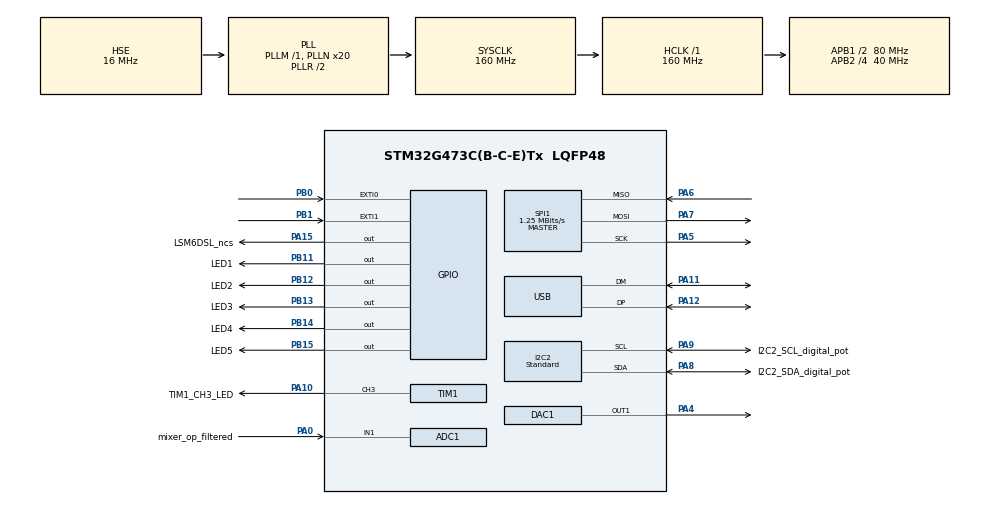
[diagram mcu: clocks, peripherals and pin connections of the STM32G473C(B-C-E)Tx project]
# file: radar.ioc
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ADC1.AWD1FilteringConfig=ADC_AWD_FILTERING_2SAMPLES
ADC1.AWD1HighThreshold=2431
ADC1.AWD1ITMode=ENABLE
ADC1.AWD1LowThreshold=743
ADC1.Channel-0\#ChannelRegularConversion=ADC_CHANNEL_1
ADC1.ClockPrescaler=ADC_CLOCK_SYNC_PCLK_DIV4
ADC1.ContinuousConvMode=DISABLE
ADC1.DMAContinuousRequests=ENABLE
ADC1.EOCSelection=ADC_EOC_SINGLE_CONV
ADC1.EnableAnalogWatchDog1=true
ADC1.ExternalTrigConv=ADC_EXTERNALTRIG_T1_TRGO
ADC1.ExternalTrigConvEdge=ADC_EXTERNALTRIGCONVEDGE_RISING
ADC1.Mode=ADC_MODE_INDEPENDENT
ADC1.NbrOfConversion=1
ADC1.NbrOfConversionFlag=1
ADC1.OffsetNumber-0\#ChannelRegularConversion=ADC_OFFSET_NONE
ADC1.Overrun=ADC_OVR_DATA_PRESERVED
ADC1.OversamplingMode=ENABLE
ADC1.Rank-0\#ChannelRegularConversion=1
ADC1.Ratio=ADC_OVERSAMPLING_RATIO_16
ADC1.SamplingTime-0\#ChannelRegularConversion=ADC_SAMPLETIME_2CYCLES_5
ADC1.WatchdogChannel=ADC_CHANNEL_1
ADC1.master=1
DAC1.DAC_DMADoubleDataMode-DAC_OUT1=DISABLE
DAC1.DAC_Trigger_OUT1-DAC_OUT1=DAC_TRIGGER_T2_TRGO
Dma.ADC1.1.Direction=DMA_PERIPH_TO_MEMORY
Dma.ADC1.1.EventEnable=DISABLE
Dma.ADC1.1.Instance=DMA2_Channel1
Dma.ADC1.1.MemDataAlignment=DMA_MDATAALIGN_HALFWORD
Dma.ADC1.1.MemInc=DMA_MINC_ENABLE
Dma.ADC1.1.Mode=DMA_CIRCULAR
Dma.ADC1.1.PeriphDataAlignment=DMA_PDATAALIGN_HALFWORD
Dma.ADC1.1.PeriphInc=DMA_PINC_DISABLE
Dma.ADC1.1.Polarity=HAL_DMAMUX_REQ_GEN_RISING
Dma.ADC1.1.Priority=DMA_PRIORITY_VERY_HIGH
Dma.ADC1.1.RequestNumber=1
Dma.ADC1.1.SignalID=NONE
Dma.ADC1.1.SyncEnable=DISABLE
Dma.ADC1.1.SyncPolarity=HAL_DMAMUX_SYNC_NO_EVENT
Dma.ADC1.1.SyncRequestNumber=1
Dma.ADC1.1.SyncSignalID=NONE
Dma.DAC1_CH1.0.Direction=DMA_MEMORY_TO_PERIPH
Dma.DAC1_CH1.0.EventEnable=DISABLE
Dma.DAC1_CH1.0.Instance=DMA1_Channel1
Dma.DAC1_CH1.0.MemDataAlignment=DMA_MDATAALIGN_WORD
Dma.DAC1_CH1.0.MemInc=DMA_MINC_ENABLE
Dma.DAC1_CH1.0.Mode=DMA_CIRCULAR
Dma.DAC1_CH1.0.PeriphDataAlignment=DMA_PDATAALIGN_WORD
Dma.DAC1_CH1.0.PeriphInc=DMA_PINC_DISABLE
Dma.DAC1_CH1.0.Polarity=HAL_DMAMUX_REQ_GEN_RISING
Dma.DAC1_CH1.0.Priority=DMA_PRIORITY_VERY_HIGH
Dma.DAC1_CH1.0.RequestNumber=1
Dma.DAC1_CH1.0.SignalID=NONE
Dma.DAC1_CH1.0.SyncEnable=DISABLE
Dma.DAC1_CH1.0.SyncPolarity=HAL_DMAMUX_SYNC_NO_EVENT
Dma.DAC1_CH1.0.SyncRequestNumber=1
Dma.DAC1_CH1.0.SyncSignalID=NONE
Dma.Request0=DAC1_CH1
Dma.Request1=ADC1
I2C2.I2C_Speed_Mode=I2C_Standard
I2C2.Speed=100
I2C2.Timing=0x10909CEC
Mcu.Family=STM32G4
Mcu.Name=STM32G473C(B-C-E)Tx
Mcu.Package=LQFP48
NVIC.ADC1_2_IRQn=true\:0\:0\:false\:false\:true\:true\:true\:true
NVIC.DMA1_Channel1_IRQn=true\:0\:0\:false\:false\:true\:false\:true\:true
NVIC.DMA2_Channel1_IRQn=true\:0\:0\:false\:false\:true\:false\:true\:true
NVIC.EXTI0_IRQn=true\:0\:0\:false\:false\:true\:true\:true\:true
NVIC.EXTI1_IRQn=true\:0\:0\:false\:false\:true\:true\:true\:true
NVIC.PriorityGroup=NVIC_PRIORITYGROUP_4
NVIC.SPI1_IRQn=true\:0\:0\:false\:false\:true\:true\:true\:true
NVIC.USB_LP_IRQn=true\:0\:0\:false\:false\:true\:false\:true\:true
PA0.GPIO_Label=mixer_op_filtered
PA0.Mode=IN1-Single-Ended
PA0.Signal=ADC1_IN1
PA10.GPIO_Label=TIM1_CH3_LED
PA10.Signal=S_TIM1_CH3
PA11.Mode=Device
PA11.Signal=USB_DM
PA12.Mode=Device
PA12.Signal=USB_DP
PA13.Mode=Trace_Asynchronous_SW
PA13.Signal=SYS_JTMS-SWDIO
PA14.Mode=Trace_Asynchronous_SW
PA14.Signal=SYS_JTCK-SWCLK
PA15.GPIO_Label=LSM6DSL_ncs
PA15.Signal=GPIO_Output
PA4.Signal=COMP_DAC11_group
PA5.Mode=Full_Duplex_Master
PA5.Signal=SPI1_SCK
PA6.Mode=Full_Duplex_Master
PA6.Signal=SPI1_MISO
PA7.Mode=Full_Duplex_Master
PA7.Signal=SPI1_MOSI
PA8.GPIO_Label=I2C2_SDA_digital_pot
PA8.Mode=I2C
PA8.Signal=I2C2_SDA
PA9.GPIO_Label=I2C2_SCL_digital_pot
PA9.Mode=I2C
PA9.Signal=I2C2_SCL
PB0.Signal=GPXTI0
PB1.Signal=GPXTI1
PB11.GPIO_Label=LED1
PB11.PinState=GPIO_PIN_RESET
PB11.Signal=GPIO_Output
PB12.GPIO_Label=LED2
PB12.Signal=GPIO_Output
PB13.GPIO_Label=LED3
PB13.Signal=GPIO_Output
PB14.GPIO_Label=LED4
PB14.Signal=GPIO_Output
PB15.GPIO_Label=LED5
PB15.Signal=GPIO_Output
PB3.Mode=Trace_Asynchronous_SW
PB3.Signal=SYS_JTDO-SWO
PF0-OSC_IN.Mode=HSE-External-Oscillator
PF0-OSC_IN.Signal=RCC_OSC_IN
PF1-OSC_OUT.Mode=HSE-External-Oscillator
PF1-OSC_OUT.Signal=RCC_OSC_OUT
ProjectManager.HeapSize=0x200
ProjectManager.StackSize=0x400
ProjectManager.TargetToolchain=STM32CubeIDE
RCC.ADC12CLockSelection=RCC_ADC12CLKSOURCE_PLL
RCC.ADC12Freq_Value=26666666.666666668
RCC.ADC345Freq_Value=160000000
RCC.AHBFreq_Value=160000000
RCC.APB1CLKDivider=RCC_HCLK_DIV2
RCC.APB1Freq_Value=80000000
RCC.APB1TimFreq_Value=160000000
RCC.APB2CLKDivider=RCC_HCLK_DIV4
RCC.APB2Freq_Value=40000000
RCC.APB2TimFreq_Value=80000000
RCC.CK48CLockSelection=RCC_USBCLKSOURCE_HSI48
RCC.CortexFreq_Value=160000000
RCC.EXTERNAL_CLOCK_VALUE=12288000
RCC.HCLKFreq_Value=160000000
RCC.HSE_VALUE=16000000
RCC.HSI48_VALUE=48000000
RCC.HSI_VALUE=16000000
RCC.LSE_VALUE=32768
RCC.PLLN=20
RCC.PLLP=RCC_PLLP_DIV12
RCC.PLLQ=RCC_PLLQ_DIV6
RCC.PLLSourceVirtual=RCC_PLLSOURCE_HSE
RCC.SYSCLKFreq_VALUE=160000000
RCC.SYSCLKSource=RCC_SYSCLKSOURCE_PLLCLK
RCC.USBFreq_Value=48000000
RCC.VCOOutputFreq_Value=320000000
SH.COMP_DAC11_group.0=DAC1_OUT1,DAC_OUT1
SH.S_TIM1_CH3.0=TIM1_CH3,Output Compare3 CH3
SPI1.BaudRatePrescaler=SPI_BAUDRATEPRESCALER_32
SPI1.CalculateBaudRate=1.25 MBits/s
SPI1.DataSize=SPI_DATASIZE_8BIT
SPI1.Direction=SPI_DIRECTION_2LINES
SPI1.Mode=SPI_MODE_MASTER
SPI1.NSSPMode=SPI_NSS_PULSE_DISABLE
SPI1.VirtualType=VM_MASTER
TIM1.Channel-Output\ Compare3\ CH3=TIM_CHANNEL_3
TIM1.OCMode_3=TIM_OCMODE_TOGGLE
TIM1.PeriodNoDither=2000-1
TIM1.Prescaler=1-1
TIM1.TIM_MasterOutputTrigger=TIM_TRGO_UPDATE
TIM2.PeriodNoDither=3200-1
TIM2.Prescaler=1-1
TIM2.TIM_MasterOutputTrigger=TIM_TRGO_UPDATE
USB_DEVICE.CLASS_NAME_FS=CDC
USB_DEVICE.USBD_DEBUG_LEVEL=3
USB_DEVICE.VirtualMode=Cdc
USB_DEVICE.VirtualModeFS=Cdc_FS
VP_TIM1_VS_ClockSourceINT.Mode=Internal
VP_TIM2_VS_ClockSourceINT.Mode=Internal
VP_USB_DEVICE_VS_USB_DEVICE_CDC_FS.Mode=CDC_FS
board=custom

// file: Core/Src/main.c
/* USER CODE BEGIN Header */
/**
  ******************************************************************************
  * @file           : main.c
  * @brief          : Main program body
  ******************************************************************************
  * @attention
  *
  * Copyright (c) 2022 STMicroelectronics.
  * All rights reserved.
  *
  * This software is licensed under terms that can be found in the LICENSE file
  * in the root directory of this software component.
  * If no LICENSE file comes with this software, it is provided AS-IS.
  *
  ******************************************************************************
  */
/* USER CODE END Header */
#include "main.h"
#include "usb_device.h"

/* USER CODE BEGIN Includes */
#include "usbd_cdc_if.h"

/* USER CODE END Includes */

/* USER CODE BEGIN PTD */
typedef enum run_mode {none = 'x', range = 'r', speed = 's', idle = 'i', test_low = 'l', test_high = 'h'} run_mode;
typedef enum digital_potentiometer_mode {automatic, manual} digital_potentiometer_mode;

typedef struct Control {
	uint16_t run_time_sec;
	run_mode mode_instructed;
	run_mode mode_running;
	uint8_t transmit_data_flag;
	uint32_t time_out;
	uint8_t digital_pot_mode;
	uint8_t digital_pot_instructed;
	uint8_t digital_pot_current_setting;
} control;

typedef struct circ_buf {
    uint16_t *buffer;
    uint16_t read_index;
    uint16_t write_index;
    uint16_t max_size;
    uint16_t block_len;
    uint16_t size;
} circ_buf;
/* USER CODE END PTD */

/* USER CODE BEGIN PM */
#define DMA_BUF_LEN 128 // buffer length for adc1 dma, mixer o/p
#define TX_BUF_NUM_DMA 10 // number of full DMA buffers that can fit into TX_BUF
#define TX_BUF_SIZE DMA_BUF_LEN * TX_BUF_NUM_DMA // buffer length for usb transmitting

#define VTUNE_SAMPLE_LEN 2000 // number of samples in VTUNE waveform

/* USER CODE END PM */

ADC_HandleTypeDef hadc1;
DMA_HandleTypeDef hdma_adc1;

DAC_HandleTypeDef hdac1;
DMA_HandleTypeDef hdma_dac1_ch1;

I2C_HandleTypeDef hi2c2;

SPI_HandleTypeDef hspi1;

TIM_HandleTypeDef htim1;
TIM_HandleTypeDef htim2;

/* USER CODE BEGIN PV */
static const uint8_t DIGITAL_POT_ADDR = 0x2f << 1; // Use 7-bit address '101111' for digital potentiometer
static uint16_t adc1_dma_buf_mixer_out[DMA_BUF_LEN];

static circ_buf *tx_buf;
extern uint8_t UserRxBufferFS[APP_RX_DATA_SIZE]; // usb receive buffer
extern uint8_t input_received_flag; // flag for usb input received
// Flag to indicate when the SPI transfer is complete
volatile uint8_t spi_complete_flag = 0;
volatile uint32_t analog_watchdog_adc = 0;
uint8_t digital_pot_default = 0x3f;
uint8_t VTune_first_cycle_complete;
uint32_t IDLE = 3724; // 3Volt with 3.3V VDDA = 2.48GHz
uint32_t CTune = 3103; /* 2.5Volt with 3.3V VDDA */
uint32_t VTune_MIN = 2482;  // minimum value in VTune waveform, used for testing purposes
uint32_t VTune_MAX = 3722;  // maximum value in VTune waveform, used for testing purposes
uint32_t VTune[VTUNE_SAMPLE_LEN] = {
		2482, 2483, 2484, 2486, 2487, 2488, 2489, 2491, 2492, 2493, 2494, 2495, 2497, 2498, 2499,
		2500, 2502, 2503, 2504, 2505, 2507, 2508, 2509, 2510, 2512, 2513, 2514, 2515, 2517, 2518,
		2519, 2520, 2522, 2523, 2524, 2525, 2527, 2528, 2529, 2530, 2531, 2533, 2534, 2535, 2536,
		2538, 2539, 2540, 2541, 2543, 2544, 2545, 2546, 2548, 2549, 2550, 2551, 2553, 2554, 2555,
		2556, 2558, 2559, 2560, 2561, 2563, 2564, 2565, 2566, 2567, 2569, 2570, 2571, 2572, 2574,
		2575, 2576, 2577, 2579, 2580, 2581, 2582, 2584, 2585, 2586, 2587, 2589, 2590, 2591, 2592,
		2594, 2595, 2596, 2597, 2599, 2600, 2601, 2602, 2603, 2605, 2606, 2607, 2608, 2610, 2611,
		2612, 2613, 2615, 2616, 2617, 2618, 2620, 2621, 2622, 2623, 2625, 2626, 2627, 2628, 2630,
		2631, 2632, 2633, 2635, 2636, 2637, 2638, 2639, 2641, 2642, 2643, 2644, 2646, 2647, 2648,
		2649, 2651, 2652, 2653, 2654, 2656, 2657, 2658, 2659, 2661, 2662, 2663, 2664, 2666, 2667,
		2668, 2669, 2671, 2672, 2673, 2674, 2675, 2677, 2678, 2679, 2680, 2682, 2683, 2684, 2685,
		2687, 2688, 2689, 2690, 2692, 2693, 2694, 2695, 2697, 2698, 2699, 2700, 2702, 2703, 2704,
		2705, 2707, 2708, 2709, 2710, 2712, 2713, 2714, 2715, 2716, 2718, 2719, 2720, 2721, 2723,
		2724, 2725, 2726, 2728, 2729, 2730, 2731, 2733, 2734, 2735, 2736, 2738, 2739, 2740, 2741,
		2743, 2744, 2745, 2746, 2748, 2749, 2750, 2751, 2752, 2754, 2755, 2756, 2757, 2759, 2760,
		2761, 2762, 2764, 2765, 2766, 2767, 2769, 2770, 2771, 2772, 2774, 2775, 2776, 2777, 2779,
		2780, 2781, 2782, 2784, 2785, 2786, 2787, 2788, 2790, 2791, 2792, 2793, 2795, 2796, 2797,
		2798, 2800, 2801, 2802, 2803, 2805, 2806, 2807, 2808, 2810, 2811, 2812, 2813, 2815, 2816,
		2817, 2818, 2820, 2821, 2822, 2823, 2824, 2826, 2827, 2828, 2829, 2831, 2832, 2833, 2834,
		2836, 2837, 2838, 2839, 2841, 2842, 2843, 2844, 2846, 2847, 2848, 2849, 2851, 2852, 2853,
		2854, 2856, 2857, 2858, 2859, 2860, 2862, 2863, 2864, 2865, 2867, 2868, 2869, 2870, 2872,
		2873, 2874, 2875, 2877, 2878, 2879, 2880, 2882, 2883, 2884, 2885, 2887, 2888, 2889, 2890,
		2892, 2893, 2894, 2895, 2896, 2898, 2899, 2900, 2901, 2903, 2904, 2905, 2906, 2908, 2909,
		2910, 2911, 2913, 2914, 2915, 2916, 2918, 2919, 2920, 2921, 2923, 2924, 2925, 2926, 2928,
		2929, 2930, 2931, 2932, 2934, 2935, 2936, 2937, 2939, 2940, 2941, 2942, 2944, 2945, 2946,
		2947, 2949, 2950, 2951, 2952, 2954, 2955, 2956, 2957, 2959, 2960, 2961, 2962, 2964, 2965,
		2966, 2967, 2968, 2970, 2971, 2972, 2973, 2975, 2976, 2977, 2978, 2980, 2981, 2982, 2983,
		2985, 2986, 2987, 2988, 2990, 2991, 2992, 2993, 2995, 2996, 2997, 2998, 3000, 3001, 3002,
		3003, 3005, 3006, 3007, 3008, 3009, 3011, 3012, 3013, 3014, 3016, 3017, 3018, 3019, 3021,
		3022, 3023, 3024, 3026, 3027, 3028, 3029, 3031, 3032, 3033, 3034, 3036, 3037, 3038, 3039,
		3041, 3042, 3043, 3044, 3045, 3047, 3048, 3049, 3050, 3052, 3053, 3054, 3055, 3057, 3058,
		3059, 3060, 3062, 3063, 3064, 3065, 3067, 3068, 3069, 3070, 3072, 3073, 3074, 3075, 3077,
		3078, 3079, 3080, 3081, 3083, 3084, 3085, 3086, 3088, 3089, 3090, 3091, 3093, 3094, 3095,
		3096, 3098, 3099, 3100, 3101, 3103, 3104, 3105, 3106, 3108, 3109, 3110, 3111, 3113, 3114,
		3115, 3116, 3117, 3119, 3120, 3121, 3122, 3124, 3125, 3126, 3127, 3129, 3130, 3131, 3132,
		3134, 3135, 3136, 3137, 3139, 3140, 3141, 3142, 3144, 3145, 3146, 3147, 3149, 3150, 3151,
		3152, 3153, 3155, 3156, 3157, 3158, 3160, 3161, 3162, 3163, 3165, 3166, 3167, 3168, 3170,
		3171, 3172, 3173, 3175, 3176, 3177, 3178, 3180, 3181, 3182, 3183, 3185, 3186, 3187, 3188,
		3189, 3191, 3192, 3193, 3194, 3196, 3197, 3198, 3199, 3201, 3202, 3203, 3204, 3206, 3207,
		3208, 3209, 3211, 3212, 3213, 3214, 3216, 3217, 3218, 3219, 3221, 3222, 3223, 3224, 3225,
		3227, 3228, 3229, 3230, 3232, 3233, 3234, 3235, 3237, 3238, 3239, 3240, 3242, 3243, 3244,
		3245, 3247, 3248, 3249, 3250, 3252, 3253, 3254, 3255, 3257, 3258, 3259, 3260, 3261, 3263,
		3264, 3265, 3266, 3268, 3269, 3270, 3271, 3273, 3274, 3275, 3276, 3278, 3279, 3280, 3281,
		3283, 3284, 3285, 3286, 3288, 3289, 3290, 3291, 3293, 3294, 3295, 3296, 3298, 3299, 3300,
		3301, 3302, 3304, 3305, 3306, 3307, 3309, 3310, 3311, 3312, 3314, 3315, 3316, 3317, 3319,
		3320, 3321, 3322, 3324, 3325, 3326, 3327, 3329, 3330, 3331, 3332, 3334, 3335, 3336, 3337,
		3338, 3340, 3341, 3342, 3343, 3345, 3346, 3347, 3348, 3350, 3351, 3352, 3353, 3355, 3356,
		3357, 3358, 3360, 3361, 3362, 3363, 3365, 3366, 3367, 3368, 3370, 3371, 3372, 3373, 3374,
		3376, 3377, 3378, 3379, 3381, 3382, 3383, 3384, 3386, 3387, 3388, 3389, 3391, 3392, 3393,
		3394, 3396, 3397, 3398, 3399, 3401, 3402, 3403, 3404, 3406, 3407, 3408, 3409, 3410, 3412,
		3413, 3414, 3415, 3417, 3418, 3419, 3420, 3422, 3423, 3424, 3425, 3427, 3428, 3429, 3430,
		3432, 3433, 3434, 3435, 3437, 3438, 3439, 3440, 3442, 3443, 3444, 3445, 3446, 3448, 3449,
		3450, 3451, 3453, 3454, 3455, 3456, 3458, 3459, 3460, 3461, 3463, 3464, 3465, 3466, 3468,
		3469, 3470, 3471, 3473, 3474, 3475, 3476, 3478, 3479, 3480, 3481, 3482, 3484, 3485, 3486,
		3487, 3489, 3490, 3491, 3492, 3494, 3495, 3496, 3497, 3499, 3500, 3501, 3502, 3504, 3505,
		3506, 3507, 3509, 3510, 3511, 3512, 3514, 3515, 3516, 3517, 3518, 3520, 3521, 3522, 3523,
		3525, 3526, 3527, 3528, 3530, 3531, 3532, 3533, 3535, 3536, 3537, 3538, 3540, 3541, 3542,
		3543, 3545, 3546, 3547, 3548, 3550, 3551, 3552, 3553, 3554, 3556, 3557, 3558, 3559, 3561,
		3562, 3563, 3564, 3566, 3567, 3568, 3569, 3571, 3572, 3573, 3574, 3576, 3577, 3578, 3579,
		3581, 3582, 3583, 3584, 3586, 3587, 3588, 3589, 3591, 3592, 3593, 3594, 3595, 3597, 3598,
		3599, 3600, 3602, 3603, 3604, 3605, 3607, 3608, 3609, 3610, 3612, 3613, 3614, 3615, 3617,
		3618, 3619, 3620, 3622, 3623, 3624, 3625, 3627, 3628, 3629, 3630, 3631, 3633, 3634, 3635,
		3636, 3638, 3639, 3640, 3641, 3643, 3644, 3645, 3646, 3648, 3649, 3650, 3651, 3653, 3654,
		3655, 3656, 3658, 3659, 3660, 3661, 3663, 3664, 3665, 3666, 3667, 3669, 3670, 3671, 3672,
		3674, 3675, 3676, 3677, 3679, 3680, 3681, 3682, 3684, 3685, 3686, 3687, 3689, 3690, 3691,
		3692, 3694, 3695, 3696, 3697, 3699, 3700, 3701, 3702, 3703, 3705, 3706, 3707, 3708, 3710,
		3711, 3712, 3713, 3715, 3716, 3717, 3718, 3720, 3721, 3722, 3722, 3721, 3720, 3718, 3717,
		3716, 3715, 3713, 3712, 3711, 3710, 3708, 3707, 3706, 3705, 3703, 3702, 3701, 3700, 3699,
		3697, 3696, 3695, 3694, 3692, 3691, 3690, 3689, 3687, 3686, 3685, 3684, 3682, 3681, 3680,
		3679, 3677, 3676, 3675, 3674, 3672, 3671, 3670, 3669, 3667, 3666, 3665, 3664, 3663, 3661,
		3660, 3659, 3658, 3656, 3655, 3654, 3653, 3651, 3650, 3649, 3648, 3646, 3645, 3644, 3643,
		3641, 3640, 3639, 3638, 3636, 3635, 3634, 3633, 3631, 3630, 3629, 3628, 3627, 3625, 3624,
		3623, 3622, 3620, 3619, 3618, 3617, 3615, 3614, 3613, 3612, 3610, 3609, 3608, 3607, 3605,
		3604, 3603, 3602, 3600, 3599, 3598, 3597, 3595, 3594, 3593, 3592, 3591, 3589, 3588, 3587,
		3586, 3584, 3583, 3582, 3581, 3579, 3578, 3577, 3576, 3574, 3573, 3572, 3571, 3569, 3568,
		3567, 3566, 3564, 3563, 3562, 3561, 3559, 3558, 3557, 3556, 3554, 3553, 3552, 3551, 3550,
		3548, 3547, 3546, 3545, 3543, 3542, 3541, 3540, 3538, 3537, 3536, 3535, 3533, 3532, 3531,
		3530, 3528, 3527, 3526, 3525, 3523, 3522, 3521, 3520, 3518, 3517, 3516, 3515, 3514, 3512,
		3511, 3510, 3509, 3507, 3506, 3505, 3504, 3502, 3501, 3500, 3499, 3497, 3496, 3495, 3494,
		3492, 3491, 3490, 3489, 3487, 3486, 3485, 3484, 3482, 3481, 3480, 3479, 3478, 3476, 3475,
		3474, 3473, 3471, 3470, 3469, 3468, 3466, 3465, 3464, 3463, 3461, 3460, 3459, 3458, 3456,
		3455, 3454, 3453, 3451, 3450, 3449, 3448, 3446, 3445, 3444, 3443, 3442, 3440, 3439, 3438,
		3437, 3435, 3434, 3433, 3432, 3430, 3429, 3428, 3427, 3425, 3424, 3423, 3422, 3420, 3419,
		3418, 3417, 3415, 3414, 3413, 3412, 3410, 3409, 3408, 3407, 3406, 3404, 3403, 3402, 3401,
		3399, 3398, 3397, 3396, 3394, 3393, 3392, 3391, 3389, 3388, 3387, 3386, 3384, 3383, 3382,
		3381, 3379, 3378, 3377, 3376, 3374, 3373, 3372, 3371, 3370, 3368, 3367, 3366, 3365, 3363,
		3362, 3361, 3360, 3358, 3357, 3356, 3355, 3353, 3352, 3351, 3350, 3348, 3347, 3346, 3345,
		3343, 3342, 3341, 3340, 3338, 3337, 3336, 3335, 3334, 3332, 3331, 3330, 3329, 3327, 3326,
		3325, 3324, 3322, 3321, 3320, 3319, 3317, 3316, 3315, 3314, 3312, 3311, 3310, 3309, 3307,
		3306, 3305, 3304, 3302, 3301, 3300, 3299, 3298, 3296, 3295, 3294, 3293, 3291, 3290, 3289,
		3288, 3286, 3285, 3284, 3283, 3281, 3280, 3279, 3278, 3276, 3275, 3274, 3273, 3271, 3270,
		3269, 3268, 3266, 3265, 3264, 3263, 3261, 3260, 3259, 3258, 3257, 3255, 3254, 3253, 3252,
		3250, 3249, 3248, 3247, 3245, 3244, 3243, 3242, 3240, 3239, 3238, 3237, 3235, 3234, 3233,
		3232, 3230, 3229, 3228, 3227, 3225, 3224, 3223, 3222, 3221, 3219, 3218, 3217, 3216, 3214,
		3213, 3212, 3211, 3209, 3208, 3207, 3206, 3204, 3203, 3202, 3201, 3199, 3198, 3197, 3196,
		3194, 3193, 3192, 3191, 3189, 3188, 3187, 3186, 3185, 3183, 3182, 3181, 3180, 3178, 3177,
		3176, 3175, 3173, 3172, 3171, 3170, 3168, 3167, 3166, 3165, 3163, 3162, 3161, 3160, 3158,
		3157, 3156, 3155, 3153, 3152, 3151, 3150, 3149, 3147, 3146, 3145, 3144, 3142, 3141, 3140,
		3139, 3137, 3136, 3135, 3134, 3132, 3131, 3130, 3129, 3127, 3126, 3125, 3124, 3122, 3121,
		3120, 3119, 3117, 3116, 3115, 3114, 3113, 3111, 3110, 3109, 3108, 3106, 3105, 3104, 3103,
		3101, 3100, 3099, 3098, 3096, 3095, 3094, 3093, 3091, 3090, 3089, 3088, 3086, 3085, 3084,
		3083, 3081, 3080, 3079, 3078, 3077, 3075, 3074, 3073, 3072, 3070, 3069, 3068, 3067, 3065,
		3064, 3063, 3062, 3060, 3059, 3058, 3057, 3055, 3054, 3053, 3052, 3050, 3049, 3048, 3047,
		3045, 3044, 3043, 3042, 3041, 3039, 3038, 3037, 3036, 3034, 3033, 3032, 3031, 3029, 3028,
		3027, 3026, 3024, 3023, 3022, 3021, 3019, 3018, 3017, 3016, 3014, 3013, 3012, 3011, 3009,
		3008, 3007, 3006, 3005, 3003, 3002, 3001, 3000, 2998, 2997, 2996, 2995, 2993, 2992, 2991,
		2990, 2988, 2987, 2986, 2985, 2983, 2982, 2981, 2980, 2978, 2977, 2976, 2975, 2973, 2972,
		2971, 2970, 2968, 2967, 2966, 2965, 2964, 2962, 2961, 2960, 2959, 2957, 2956, 2955, 2954,
		2952, 2951, 2950, 2949, 2947, 2946, 2945, 2944, 2942, 2941, 2940, 2939, 2937, 2936, 2935,
		2934, 2932, 2931, 2930, 2929, 2928, 2926, 2925, 2924, 2923, 2921, 2920, 2919, 2918, 2916,
		2915, 2914, 2913, 2911, 2910, 2909, 2908, 2906, 2905, 2904, 2903, 2901, 2900, 2899, 2898,
		2896, 2895, 2894, 2893, 2892, 2890, 2889, 2888, 2887, 2885, 2884, 2883, 2882, 2880, 2879,
		2878, 2877, 2875, 2874, 2873, 2872, 2870, 2869, 2868, 2867, 2865, 2864, 2863, 2862, 2860,
		2859, 2858, 2857, 2856, 2854, 2853, 2852, 2851, 2849, 2848, 2847, 2846, 2844, 2843, 2842,
		2841, 2839, 2838, 2837, 2836, 2834, 2833, 2832, 2831, 2829, 2828, 2827, 2826, 2824, 2823,
		2822, 2821, 2820, 2818, 2817, 2816, 2815, 2813, 2812, 2811, 2810, 2808, 2807, 2806, 2805,
		2803, 2802, 2801, 2800, 2798, 2797, 2796, 2795, 2793, 2792, 2791, 2790, 2788, 2787, 2786,
		2785, 2784, 2782, 2781, 2780, 2779, 2777, 2776, 2775, 2774, 2772, 2771, 2770, 2769, 2767,
		2766, 2765, 2764, 2762, 2761, 2760, 2759, 2757, 2756, 2755, 2754, 2752, 2751, 2750, 2749,
		2748, 2746, 2745, 2744, 2743, 2741, 2740, 2739, 2738, 2736, 2735, 2734, 2733, 2731, 2730,
		2729, 2728, 2726, 2725, 2724, 2723, 2721, 2720, 2719, 2718, 2716, 2715, 2714, 2713, 2712,
		2710, 2709, 2708, 2707, 2705, 2704, 2703, 2702, 2700, 2699, 2698, 2697, 2695, 2694, 2693,
		2692, 2690, 2689, 2688, 2687, 2685, 2684, 2683, 2682, 2680, 2679, 2678, 2677, 2675, 2674,
		2673, 2672, 2671, 2669, 2668, 2667, 2666, 2664, 2663, 2662, 2661, 2659, 2658, 2657, 2656,
		2654, 2653, 2652, 2651, 2649, 2648, 2647, 2646, 2644, 2643, 2642, 2641, 2639, 2638, 2637,
		2636, 2635, 2633, 2632, 2631, 2630, 2628, 2627, 2626, 2625, 2623, 2622, 2621, 2620, 2618,
		2617, 2616, 2615, 2613, 2612, 2611, 2610, 2608, 2607, 2606, 2605, 2603, 2602, 2601, 2600,
		2599, 2597, 2596, 2595, 2594, 2592, 2591, 2590, 2589, 2587, 2586, 2585, 2584, 2582, 2581,
		2580, 2579, 2577, 2576, 2575, 2574, 2572, 2571, 2570, 2569, 2567, 2566, 2565, 2564, 2563,
		2561, 2560, 2559, 2558, 2556, 2555, 2554, 2553, 2551, 2550, 2549, 2548, 2546, 2545, 2544,
		2543, 2541, 2540, 2539, 2538, 2536, 2535, 2534, 2533, 2531, 2530, 2529, 2528, 2527, 2525,
		2524, 2523, 2522, 2520, 2519, 2518, 2517, 2515, 2514, 2513, 2512, 2510, 2509, 2508, 2507,
		2505, 2504, 2503, 2502, 2500, 2499, 2498, 2497, 2495, 2494, 2493, 2492, 2491, 2489, 2488,
		2487, 2486, 2484, 2483, 2482};

/* USER CODE END PV */

void SystemClock_Config(void);
static void MX_GPIO_Init(void);
static void MX_DMA_Init(void);
static void MX_ADC1_Init(void);
static void MX_DAC1_Init(void);
static void MX_TIM2_Init(void);
static void MX_SPI1_Init(void);
static void MX_TIM1_Init(void);
static void MX_I2C2_Init(void);
/* USER CODE BEGIN PFP */

// usb transmit
extern uint8_t CDC_Transmit_FS(uint8_t *Buf, uint16_t Len);
uint8_t buf_push(circ_buf *buf, uint16_t *data);
uint8_t transmit_buf(circ_buf *buf);
void test_buffer();
// input processing
void process_input(const uint8_t *arr, control *pControl);
uint8_t strcontains(const char* str1,const char* str2);
void my_strcpy(char* cpy, const char* orig, uint8_t len);
uint8_t isValid(const char checkChar);
// DAC control
void set_DAC_for_VCO(control *ctrl_ptr, uint8_t cycle_DAC);
// digital pot control
HAL_StatusTypeDef set_digital_pot(control* ctrl_ptr);

/* USER CODE END PFP */

int main(void)
{
  /* USER CODE BEGIN 1 */
input_received_flag = 0;
VTune_first_cycle_complete = 0;
uint16_t count_cycle = 0;
// uint8_t lsm6dslError[] ="LSM6DSL whoAmI error";
uint32_t runtime_additional_time_ms = 100; // additional run time, giving extra samples which will be lost due to pulse cancellation
uint8_t digital_pot_check = 255; // register used to read potentiometer register
HAL_StatusTypeDef ret; // used for checking return values when function returns HAL status

// initialize command struct and set default values
control user_input;
user_input.mode_instructed = range; // r:range, s:speed, i: idle
user_input.mode_running = none; // x:none
user_input.run_time_sec=0; // length of time in seconds to operate
user_input.time_out = 3600000; // will run in range mode upon start up for 1 hour before setting VCO to idle freq
user_input.digital_pot_instructed = digital_pot_default;  // 0x7f is full scale, 0x3f is midscale, 0 is zero scale
user_input.digital_pot_current_setting = digital_pot_default;  // digital pot will initialize itself to 0x3f on power up
user_input.digital_pot_mode = automatic;

// initialize tx_buf
tx_buf = malloc(sizeof(circ_buf));
tx_buf->block_len = DMA_BUF_LEN / 2;
tx_buf->max_size = TX_BUF_SIZE;
tx_buf->read_index = 0;
tx_buf->write_index = 0;
tx_buf->size = 0;
tx_buf->buffer = malloc(TX_BUF_SIZE * sizeof(uint16_t));
memset(tx_buf->buffer,0,tx_buf->max_size);

  /* USER CODE END 1 */

  /* MCU Configuration--------------------------------------------------------*/

  /* Reset of all peripherals, Initializes the Flash interface and the Systick. */
  HAL_Init();

  /* Configure the system clock */
  SystemClock_Config();

  /* Initialize all configured peripherals */
  MX_GPIO_Init();
  MX_DMA_Init();
  MX_ADC1_Init();
  MX_DAC1_Init();
  MX_TIM2_Init();
  MX_SPI1_Init();
  MX_USB_Device_Init();
  MX_TIM1_Init();
  MX_I2C2_Init();
  /* USER CODE BEGIN 2 */

  /* calibrate ADC */
  HAL_ADCEx_Calibration_Start(&hadc1, ADC_SINGLE_ENDED);

  set_DAC_for_VCO(&user_input, 0); // starts timer and sets dac output used for VCO
  HAL_TIM_Base_Start(&htim1); // start timer 1 for adc1 conversion for radar mixer o/p
  HAL_TIM_OC_Start(&htim1, TIM_CHANNEL_3); // sets output compare for timer1, sets PA10 to toggle on timer1 register reload (40kHz)

  /* set the digital pot to value in control struct */
  ret = set_digital_pot(&user_input);
//  test_buffer();

  /* USER CODE END 2 */

  /* Infinite loop */
  /* USER CODE BEGIN WHILE */
  while (1)
  {
	  // on command from PC, read command
	  if (input_received_flag)
	  {
		    // read command
	 	    process_input(&UserRxBufferFS,&user_input);
	 	    // set digital pot on command from PC
	 	    if (user_input.digital_pot_mode == manual && user_input.digital_pot_instructed != user_input.digital_pot_current_setting) {
	 	    	ret = set_digital_pot(&user_input);
	 	    } else {
	 	    	user_input.digital_pot_instructed = 0x3f;
	 	    	ret = set_digital_pot(&user_input);
	 	    	analog_watchdog_adc = HAL_GetTick();
	 	    }
	 	    // when instructed
	 	    // start the DAC for VCO according to command
	 	    // start ADC for reading input/outputting to PC
	 	    if (user_input.mode_instructed != none) {
	 	    	if (user_input.mode_instructed == range) {
	 	    		VTune_first_cycle_complete = 0; // clear cycle complete flag for vtune
	 	    	}
	 	    	set_DAC_for_VCO(&user_input, 1);  // set DAC/ADC and calculate end time of run
	 	    	if (user_input.mode_instructed == range) { // wait for 1 VTune cycle complete
	 	    		while (VTune_first_cycle_complete != 1 && count_cycle < 2) {
	 	    			if (VTune_first_cycle_complete == 1) {
	 	    				VTune_first_cycle_complete = 0;
	 	    				count_cycle += 1;
	 	    			}
	 	    			// stuck in loop until first dac_complete callback sets VTune_first _cycle_complete flag
	 	    		}
	 	    		count_cycle = 0;
	 	    		HAL_Delay(2.5);
	 	    	}
	 	    	HAL_ADC_Start_DMA(&hadc1, (uint32_t*)adc1_dma_buf_mixer_out, DMA_BUF_LEN); // start the adc with dma
	 	    	while (count_cycle < 4) {
	 	    		if (tx_buf->size > 0) {
	 	    			tx_buf->read_index += tx_buf->block_len;
	 	    			if (tx_buf->read_index > tx_buf->max_size) {
	 	    			    tx_buf->read_index = 0;
	 	    			 }
	 	    			 tx_buf->size -= tx_buf->block_len;
	 	    			 count_cycle += 1;
	 	    		}
	 	    	}
	 	    	count_cycle = 0;
	 	    	user_input.time_out = HAL_GetTick() + (user_input.run_time_sec * 1000) + runtime_additional_time_ms;	// HAL_GetTick returns milliseconds
	 	 	}
	 	        input_received_flag=0; // clear input flag
	  }
	  // when running, check for time elapsed of run being greater than time instructed
	  if (user_input.mode_running != idle) {
		  if (HAL_GetTick() > user_input.time_out) {
			  // when run times out, set mode_instructed to i, stop the ADC and set DAC to "off mode"
			  user_input.mode_instructed = idle;
			  HAL_ADC_Stop_DMA(&hadc1);	// stop ADC
	 	      set_DAC_for_VCO(&user_input, 0);  // set DAC
		  }
	  }
	  if (tx_buf->size > 0) {
		  transmit_buf(tx_buf);
	  }
    /* USER CODE END WHILE */

  }
}

void SystemClock_Config(void)
{
  RCC_OscInitTypeDef RCC_OscInitStruct = {0};
  RCC_ClkInitTypeDef RCC_ClkInitStruct = {0};

  /** Configure the main internal regulator output voltage
  */
  HAL_PWREx_ControlVoltageScaling(PWR_REGULATOR_VOLTAGE_SCALE1_BOOST);

  /** Initializes the RCC Oscillators according to the specified parameters
  * in the RCC_OscInitTypeDef structure.
  */
  RCC_OscInitStruct.OscillatorType = RCC_OSCILLATORTYPE_HSI48|RCC_OSCILLATORTYPE_HSE;
  RCC_OscInitStruct.HSEState = RCC_HSE_ON;
  RCC_OscInitStruct.HSI48State = RCC_HSI48_ON;
  RCC_OscInitStruct.PLL.PLLState = RCC_PLL_ON;
  RCC_OscInitStruct.PLL.PLLSource = RCC_PLLSOURCE_HSE;
  RCC_OscInitStruct.PLL.PLLM = RCC_PLLM_DIV1;
  RCC_OscInitStruct.PLL.PLLN = 20;
  RCC_OscInitStruct.PLL.PLLP = RCC_PLLP_DIV12;
  RCC_OscInitStruct.PLL.PLLQ = RCC_PLLQ_DIV6;
  RCC_OscInitStruct.PLL.PLLR = RCC_PLLR_DIV2;
  if (HAL_RCC_OscConfig(&RCC_OscInitStruct) != HAL_OK)
  {
    Error_Handler();
  }

  /** Initializes the CPU, AHB and APB buses clocks
  */
  RCC_ClkInitStruct.ClockType = RCC_CLOCKTYPE_HCLK|RCC_CLOCKTYPE_SYSCLK
                              |RCC_CLOCKTYPE_PCLK1|RCC_CLOCKTYPE_PCLK2;
  RCC_ClkInitStruct.SYSCLKSource = RCC_SYSCLKSOURCE_PLLCLK;
  RCC_ClkInitStruct.AHBCLKDivider = RCC_SYSCLK_DIV1;
  RCC_ClkInitStruct.APB1CLKDivider = RCC_HCLK_DIV2;
  RCC_ClkInitStruct.APB2CLKDivider = RCC_HCLK_DIV4;

  if (HAL_RCC_ClockConfig(&RCC_ClkInitStruct, FLASH_LATENCY_4) != HAL_OK)
  {
    Error_Handler();
  }
}

static void MX_ADC1_Init(void)
{

  ADC_MultiModeTypeDef multimode = {0};
  ADC_AnalogWDGConfTypeDef AnalogWDGConfig = {0};
  ADC_ChannelConfTypeDef sConfig = {0};

  /** Common config
  */
  hadc1.Instance = ADC1;
  hadc1.Init.ClockPrescaler = ADC_CLOCK_SYNC_PCLK_DIV4;
  hadc1.Init.Resolution = ADC_RESOLUTION_12B;
  hadc1.Init.DataAlign = ADC_DATAALIGN_RIGHT;
  hadc1.Init.GainCompensation = 0;
  hadc1.Init.ScanConvMode = ADC_SCAN_DISABLE;
  hadc1.Init.EOCSelection = ADC_EOC_SINGLE_CONV;
  hadc1.Init.LowPowerAutoWait = DISABLE;
  hadc1.Init.ContinuousConvMode = DISABLE;
  hadc1.Init.NbrOfConversion = 1;
  hadc1.Init.DiscontinuousConvMode = DISABLE;
  hadc1.Init.ExternalTrigConv = ADC_EXTERNALTRIG_T1_TRGO;
  hadc1.Init.ExternalTrigConvEdge = ADC_EXTERNALTRIGCONVEDGE_RISING;
  hadc1.Init.DMAContinuousRequests = ENABLE;
  hadc1.Init.Overrun = ADC_OVR_DATA_PRESERVED;
  hadc1.Init.OversamplingMode = ENABLE;
  hadc1.Init.Oversampling.Ratio = ADC_OVERSAMPLING_RATIO_16;
  hadc1.Init.Oversampling.RightBitShift = ADC_RIGHTBITSHIFT_NONE;
  hadc1.Init.Oversampling.TriggeredMode = ADC_TRIGGEREDMODE_SINGLE_TRIGGER;
  hadc1.Init.Oversampling.OversamplingStopReset = ADC_REGOVERSAMPLING_CONTINUED_MODE;
  if (HAL_ADC_Init(&hadc1) != HAL_OK)
  {
    Error_Handler();
  }

  /** Configure the ADC multi-mode
  */
  multimode.Mode = ADC_MODE_INDEPENDENT;
  if (HAL_ADCEx_MultiModeConfigChannel(&hadc1, &multimode) != HAL_OK)
  {
    Error_Handler();
  }

  /** Configure Analog WatchDog 1
  */
  AnalogWDGConfig.WatchdogNumber = ADC_ANALOGWATCHDOG_1;
  AnalogWDGConfig.WatchdogMode = ADC_ANALOGWATCHDOG_SINGLE_REG;
  AnalogWDGConfig.Channel = ADC_CHANNEL_1;
  AnalogWDGConfig.ITMode = ENABLE;
  AnalogWDGConfig.HighThreshold = 2431;
  AnalogWDGConfig.LowThreshold = 743;
  AnalogWDGConfig.FilteringConfig = ADC_AWD_FILTERING_2SAMPLES;
  if (HAL_ADC_AnalogWDGConfig(&hadc1, &AnalogWDGConfig) != HAL_OK)
  {
    Error_Handler();
  }

  /** Configure Regular Channel
  */
  sConfig.Channel = ADC_CHANNEL_1;
  sConfig.Rank = ADC_REGULAR_RANK_1;
  sConfig.SamplingTime = ADC_SAMPLETIME_2CYCLES_5;
  sConfig.SingleDiff = ADC_SINGLE_ENDED;
  sConfig.OffsetNumber = ADC_OFFSET_NONE;
  sConfig.Offset = 0;
  if (HAL_ADC_ConfigChannel(&hadc1, &sConfig) != HAL_OK)
  {
    Error_Handler();
  }

}

static void MX_DAC1_Init(void)
{

  DAC_ChannelConfTypeDef sConfig = {0};

  /** DAC Initialization
  */
  hdac1.Instance = DAC1;
  if (HAL_DAC_Init(&hdac1) != HAL_OK)
  {
    Error_Handler();
  }

  /** DAC channel OUT1 config
  */
  sConfig.DAC_HighFrequency = DAC_HIGH_FREQUENCY_INTERFACE_MODE_AUTOMATIC;
  sConfig.DAC_DMADoubleDataMode = DISABLE;
  sConfig.DAC_SignedFormat = DISABLE;
  sConfig.DAC_SampleAndHold = DAC_SAMPLEANDHOLD_DISABLE;
  sConfig.DAC_Trigger = DAC_TRIGGER_T2_TRGO;
  sConfig.DAC_Trigger2 = DAC_TRIGGER_NONE;
  sConfig.DAC_OutputBuffer = DAC_OUTPUTBUFFER_ENABLE;
  sConfig.DAC_ConnectOnChipPeripheral = DAC_CHIPCONNECT_EXTERNAL;
  sConfig.DAC_UserTrimming = DAC_TRIMMING_FACTORY;
  if (HAL_DAC_ConfigChannel(&hdac1, &sConfig, DAC_CHANNEL_1) != HAL_OK)
  {
    Error_Handler();
  }

}

static void MX_I2C2_Init(void)
{

  hi2c2.Instance = I2C2;
  hi2c2.Init.Timing = 0x10909CEC;
  hi2c2.Init.OwnAddress1 = 0;
  hi2c2.Init.AddressingMode = I2C_ADDRESSINGMODE_7BIT;
  hi2c2.Init.DualAddressMode = I2C_DUALADDRESS_DISABLE;
  hi2c2.Init.OwnAddress2 = 0;
  hi2c2.Init.OwnAddress2Masks = I2C_OA2_NOMASK;
  hi2c2.Init.GeneralCallMode = I2C_GENERALCALL_DISABLE;
  hi2c2.Init.NoStretchMode = I2C_NOSTRETCH_DISABLE;
  if (HAL_I2C_Init(&hi2c2) != HAL_OK)
  {
    Error_Handler();
  }

  /** Configure Analogue filter
  */
  if (HAL_I2CEx_ConfigAnalogFilter(&hi2c2, I2C_ANALOGFILTER_ENABLE) != HAL_OK)
  {
    Error_Handler();
  }

  /** Configure Digital filter
  */
  if (HAL_I2CEx_ConfigDigitalFilter(&hi2c2, 0) != HAL_OK)
  {
    Error_Handler();
  }

}

static void MX_SPI1_Init(void)
{

  /* SPI1 parameter configuration*/
  hspi1.Instance = SPI1;
  hspi1.Init.Mode = SPI_MODE_MASTER;
  hspi1.Init.Direction = SPI_DIRECTION_2LINES;
  hspi1.Init.DataSize = SPI_DATASIZE_8BIT;
  hspi1.Init.CLKPolarity = SPI_POLARITY_LOW;
  hspi1.Init.CLKPhase = SPI_PHASE_1EDGE;
  hspi1.Init.NSS = SPI_NSS_SOFT;
  hspi1.Init.BaudRatePrescaler = SPI_BAUDRATEPRESCALER_32;
  hspi1.Init.FirstBit = SPI_FIRSTBIT_MSB;
  hspi1.Init.TIMode = SPI_TIMODE_DISABLE;
  hspi1.Init.CRCCalculation = SPI_CRCCALCULATION_DISABLE;
  hspi1.Init.CRCPolynomial = 7;
  hspi1.Init.CRCLength = SPI_CRC_LENGTH_DATASIZE;
  hspi1.Init.NSSPMode = SPI_NSS_PULSE_DISABLE;
  if (HAL_SPI_Init(&hspi1) != HAL_OK)
  {
    Error_Handler();
  }

}

static void MX_TIM1_Init(void)
{

  TIM_ClockConfigTypeDef sClockSourceConfig = {0};
  TIM_MasterConfigTypeDef sMasterConfig = {0};
  TIM_OC_InitTypeDef sConfigOC = {0};
  TIM_BreakDeadTimeConfigTypeDef sBreakDeadTimeConfig = {0};

  htim1.Instance = TIM1;
  htim1.Init.Prescaler = 1-1;
  htim1.Init.CounterMode = TIM_COUNTERMODE_UP;
  htim1.Init.Period = 1999;
  htim1.Init.ClockDivision = TIM_CLOCKDIVISION_DIV1;
  htim1.Init.RepetitionCounter = 0;
  htim1.Init.AutoReloadPreload = TIM_AUTORELOAD_PRELOAD_DISABLE;
  if (HAL_TIM_Base_Init(&htim1) != HAL_OK)
  {
    Error_Handler();
  }
  sClockSourceConfig.ClockSource = TIM_CLOCKSOURCE_INTERNAL;
  if (HAL_TIM_ConfigClockSource(&htim1, &sClockSourceConfig) != HAL_OK)
  {
    Error_Handler();
  }
  if (HAL_TIM_OC_Init(&htim1) != HAL_OK)
  {
    Error_Handler();
  }
  sMasterConfig.MasterOutputTrigger = TIM_TRGO_UPDATE;
  sMasterConfig.MasterOutputTrigger2 = TIM_TRGO2_RESET;
  sMasterConfig.MasterSlaveMode = TIM_MASTERSLAVEMODE_DISABLE;
  if (HAL_TIMEx_MasterConfigSynchronization(&htim1, &sMasterConfig) != HAL_OK)
  {
    Error_Handler();
  }
  sConfigOC.OCMode = TIM_OCMODE_TOGGLE;
  sConfigOC.Pulse = 0;
  sConfigOC.OCPolarity = TIM_OCPOLARITY_HIGH;
  sConfigOC.OCNPolarity = TIM_OCNPOLARITY_HIGH;
  sConfigOC.OCFastMode = TIM_OCFAST_DISABLE;
  sConfigOC.OCIdleState = TIM_OCIDLESTATE_RESET;
  sConfigOC.OCNIdleState = TIM_OCNIDLESTATE_RESET;
  if (HAL_TIM_OC_ConfigChannel(&htim1, &sConfigOC, TIM_CHANNEL_3) != HAL_OK)
  {
    Error_Handler();
  }
  sBreakDeadTimeConfig.OffStateRunMode = TIM_OSSR_DISABLE;
  sBreakDeadTimeConfig.OffStateIDLEMode = TIM_OSSI_DISABLE;
  sBreakDeadTimeConfig.LockLevel = TIM_LOCKLEVEL_OFF;
  sBreakDeadTimeConfig.DeadTime = 0;
  sBreakDeadTimeConfig.BreakState = TIM_BREAK_DISABLE;
  sBreakDeadTimeConfig.BreakPolarity = TIM_BREAKPOLARITY_HIGH;
  sBreakDeadTimeConfig.BreakFilter = 0;
  sBreakDeadTimeConfig.BreakAFMode = TIM_BREAK_AFMODE_INPUT;
  sBreakDeadTimeConfig.Break2State = TIM_BREAK2_DISABLE;
  sBreakDeadTimeConfig.Break2Polarity = TIM_BREAK2POLARITY_HIGH;
  sBreakDeadTimeConfig.Break2Filter = 0;
  sBreakDeadTimeConfig.Break2AFMode = TIM_BREAK_AFMODE_INPUT;
  sBreakDeadTimeConfig.AutomaticOutput = TIM_AUTOMATICOUTPUT_DISABLE;
  if (HAL_TIMEx_ConfigBreakDeadTime(&htim1, &sBreakDeadTimeConfig) != HAL_OK)
  {
    Error_Handler();
  }
  HAL_TIM_MspPostInit(&htim1);

}

static void MX_TIM2_Init(void)
{

  TIM_ClockConfigTypeDef sClockSourceConfig = {0};
  TIM_MasterConfigTypeDef sMasterConfig = {0};

  htim2.Instance = TIM2;
  htim2.Init.Prescaler = 1-1;
  htim2.Init.CounterMode = TIM_COUNTERMODE_UP;
  htim2.Init.Period = 3199;
  htim2.Init.ClockDivision = TIM_CLOCKDIVISION_DIV1;
  htim2.Init.AutoReloadPreload = TIM_AUTORELOAD_PRELOAD_DISABLE;
  if (HAL_TIM_Base_Init(&htim2) != HAL_OK)
  {
    Error_Handler();
  }
  sClockSourceConfig.ClockSource = TIM_CLOCKSOURCE_INTERNAL;
  if (HAL_TIM_ConfigClockSource(&htim2, &sClockSourceConfig) != HAL_OK)
  {
    Error_Handler();
  }
  sMasterConfig.MasterOutputTrigger = TIM_TRGO_UPDATE;
  sMasterConfig.MasterSlaveMode = TIM_MASTERSLAVEMODE_DISABLE;
  if (HAL_TIMEx_MasterConfigSynchronization(&htim2, &sMasterConfig) != HAL_OK)
  {
    Error_Handler();
  }

}

static void MX_DMA_Init(void)
{

  /* DMA controller clock enable */
  __HAL_RCC_DMAMUX1_CLK_ENABLE();
  __HAL_RCC_DMA1_CLK_ENABLE();
  __HAL_RCC_DMA2_CLK_ENABLE();

  /* DMA interrupt init */
  /* DMA1_Channel1_IRQn interrupt configuration */
  HAL_NVIC_SetPriority(DMA1_Channel1_IRQn, 0, 0);
  HAL_NVIC_EnableIRQ(DMA1_Channel1_IRQn);
  /* DMA2_Channel1_IRQn interrupt configuration */
  HAL_NVIC_SetPriority(DMA2_Channel1_IRQn, 0, 0);
  HAL_NVIC_EnableIRQ(DMA2_Channel1_IRQn);

}

static void MX_GPIO_Init(void)
{
  GPIO_InitTypeDef GPIO_InitStruct = {0};

  /* GPIO Ports Clock Enable */
  __HAL_RCC_GPIOF_CLK_ENABLE();
  __HAL_RCC_GPIOA_CLK_ENABLE();
  __HAL_RCC_GPIOB_CLK_ENABLE();

  /*Configure GPIO pin Output Level */
  HAL_GPIO_WritePin(GPIOB, LED1_Pin|LED2_Pin|LED3_Pin|LED4_Pin
                          |LED5_Pin, GPIO_PIN_RESET);

  /*Configure GPIO pin Output Level */
  HAL_GPIO_WritePin(LSM6DSL_ncs_GPIO_Port, LSM6DSL_ncs_Pin, GPIO_PIN_RESET);

  /*Configure GPIO pins : PB0 PB1 */
  GPIO_InitStruct.Pin = GPIO_PIN_0|GPIO_PIN_1;
  GPIO_InitStruct.Mode = GPIO_MODE_IT_RISING;
  GPIO_InitStruct.Pull = GPIO_NOPULL;
  HAL_GPIO_Init(GPIOB, &GPIO_InitStruct);

  /*Configure GPIO pins : LED1_Pin LED2_Pin LED3_Pin LED4_Pin
                           LED5_Pin */
  GPIO_InitStruct.Pin = LED1_Pin|LED2_Pin|LED3_Pin|LED4_Pin
                          |LED5_Pin;
  GPIO_InitStruct.Mode = GPIO_MODE_OUTPUT_PP;
  GPIO_InitStruct.Pull = GPIO_NOPULL;
  GPIO_InitStruct.Speed = GPIO_SPEED_FREQ_LOW;
  HAL_GPIO_Init(GPIOB, &GPIO_InitStruct);

  /*Configure GPIO pin : LSM6DSL_ncs_Pin */
  GPIO_InitStruct.Pin = LSM6DSL_ncs_Pin;
  GPIO_InitStruct.Mode = GPIO_MODE_OUTPUT_PP;
  GPIO_InitStruct.Pull = GPIO_NOPULL;
  GPIO_InitStruct.Speed = GPIO_SPEED_FREQ_LOW;
  HAL_GPIO_Init(LSM6DSL_ncs_GPIO_Port, &GPIO_InitStruct);

  /* EXTI interrupt init*/
  HAL_NVIC_SetPriority(EXTI0_IRQn, 0, 0);
  HAL_NVIC_EnableIRQ(EXTI0_IRQn);

  HAL_NVIC_SetPriority(EXTI1_IRQn, 0, 0);
  HAL_NVIC_EnableIRQ(EXTI1_IRQn);

}

/* USER CODE BEGIN 4 */

/**
  * @brief  Analog watchdog callback in non blocking mode.
  * @param  hadc: ADC handle
  * @retval None
  */
  void HAL_ADC_LevelOutOfWindowCallback(ADC_HandleTypeDef* hadc) {
  analog_watchdog_adc = HAL_GetTick();
}

/**
  * @brief  Rx Transfer completed callback.
  * @param  hspi pointer to a SPI_HandleTypeDef structure that contains
  *               the configuration information for SPI module.
  * @retval None
  */
void HAL_SPI_RxCpltCallback(SPI_HandleTypeDef *hspi)
{
  /* Prevent unused argument(s) compilation warning */
  UNUSED(hspi);
  spi_complete_flag = 1;
}

/**
  * @brief  Tx and Rx Transfer completed callback.
  * @param  hspi pointer to a SPI_HandleTypeDef structure that contains
  *               the configuration information for SPI module.
  * @retval None
  */
void HAL_SPI_TxRxCpltCallback(SPI_HandleTypeDef *hspi)
{
  /* Prevent unused argument(s) compilation warning */
  UNUSED(hspi);
  spi_complete_flag = 1;
}

/**
  * @brief  Conversion complete callback in non-blocking mode.
  * @param hadc ADC handle
  * @retval None
  */
void HAL_ADC_ConvCpltCallback(ADC_HandleTypeDef *hadc)
{
	uint8_t len = DMA_BUF_LEN/2;
//	uint8_t halfIndex = len-1;
//	memcpy(tx_buffer[halfIndex],adc1_dma_buf_mixer_out[halfIndex],len);
//	CDC_Transmit_FS(&adc1_dma_buf_mixer_out[halfIndex], len);
	buf_push(tx_buf, &adc1_dma_buf_mixer_out[len]);
}

/**
  * @brief  Conversion DMA half-transfer callback in non-blocking mode.
  * @param hadc ADC handle
  * @retval None
  */
void HAL_ADC_ConvHalfCpltCallback(ADC_HandleTypeDef *hadc)
{
//	uint8_t len = DMA_BUF_LEN / 2;
//	memcpy(tx_buffer[0],adc1_dma_buf_mixer_out[0],len);
//	CDC_Transmit_FS(&adc1_dma_buf_mixer_out[0], len);
	buf_push(tx_buf, &adc1_dma_buf_mixer_out[0]);
}

void HAL_DAC_ConvCpltCallbackCh1(DAC_HandleTypeDef *hdac) {
	VTune_first_cycle_complete = 1;
}

/**
  * @brief  push values in data into the circular buffer
  * @param buf circular buffer pointer
  * @param data uint8_t values to place into
  * @retval None
  */
uint8_t buf_push(circ_buf *buf, uint16_t *data) {
    if(buf->size == buf->max_size) {
		HAL_GPIO_WritePin(LED2_GPIO_Port, LED2_Pin, SET);
    	return 1;
    }
    memcpy(buf->buffer + buf->write_index, data, buf->block_len * sizeof(uint16_t));
    buf->size += buf->block_len;
    buf->write_index += buf->block_len;
    if(buf->write_index > buf->max_size) {
        buf->write_index = 0;
    }
    return 0;
}

uint8_t transmit_buf(circ_buf *buf) {
    uint8_t count = 0;
    HAL_StatusTypeDef ret = HAL_ERROR;
    while(ret != HAL_OK && count < 5) {
    	ret = CDC_Transmit_FS(&(buf->buffer[buf->read_index]), buf->block_len * sizeof(uint16_t));
    	count++;
    }
    if (ret != HAL_OK) {
    	HAL_GPIO_WritePin(LED3_GPIO_Port, LED3_Pin, SET);
    	return ret;
    }
    buf->read_index += buf->block_len;
    if (buf->read_index > buf->max_size) {
    	buf->read_index = 0;
    }
    buf->size -= buf->block_len;
	return 0;
}

/*
 * process the input received over usb to extract the operating mode and the time of operation
 *
 * @param arr    user input array
 * @param pCommand command struct to return mode and time
*/
void process_input(const uint8_t *arr, control *pControl) {
	char mode[]="mode:";
    char time[] = "time:";
    char pot[] = "pot:";
    char word[64] = {0};
    uint8_t i = sizeof(mode);
    uint8_t j= sizeof(time);
    uint8_t k = sizeof(pot);
    // check input to ensure "mode:" is received
    my_strcpy(word, arr, i);
    if (strcontains(word,mode)) {
    	if (isValid(arr[i-1])) {
    		pControl->mode_instructed=arr[i-1];     // set mode in command
    	}
    	else { // invalid mode command
    		return;
    	}
    }
    else { // invalid command
    	return;
    }
    // move index past command for mode and then '\n'
    while(arr[i]=='\n') {
    	i++;
    }
    // check input to ensure "time:" is received
    my_strcpy(word, &arr[i], j);
    	if (strcontains(word,time)) {//mode:r\ntime:10\npot:63
    	   // set i to index one past command for time
			i=i+j-1;
			j=i+1;
			// get index of last digit
			while (arr[j]!='\n'&& arr[j]!='\0') {
			j++;
			}
			// set run time to zero
			pControl->run_time_sec=0;
			// add each digits value,
			// *10 to shift current value left one digit for adding next digit
			// -48 converts from ascii to int
			while (i < j) {
			pControl->run_time_sec=(pControl->run_time_sec*10)+arr[i]-48;
			i++;
			}
      }
      // move index past command for mode and then '\n'
      while(arr[i]=='\n') {
    	    i++;
      }
	// check input to ensure "pot:" is received
	my_strcpy(word, &arr[i], k);
		if (strcontains(word,pot)) {//mode:r\ntime:10\npot:63
		   // set i to index one past command for time
			i=i+k-1;
			j=i+1;
			// get index of last digit
			while (arr[j]!='\n'&& arr[j]!='\0') {
			j++;
			}
			// set digital pot setting to zero
			pControl->digital_pot_instructed = 0;
			// add each digits value,
			// *10 to shift current value left one digit for adding next digit
			// -48 converts from ascii to int
			while (i < j) {
			pControl->digital_pot_instructed = (pControl->digital_pot_instructed*10)+arr[i]-48;
			i++;
			}
			if (pControl->digital_pot_instructed > 0x7f) {  // set gain control to automatic
				pControl->digital_pot_instructed = 0x3f; // set an initial value to midscale
				pControl->digital_pot_mode = automatic;
			}
	  }
	  pControl->transmit_data_flag=1; // set flag for transmit data
}

/*
 * Compare two strings,
 * return 1 for same string, 0 for different strings
 */
uint8_t strcontains(const char* str1,const char* str2) {
	  uint8_t i = 0, strings_match = 1; // strings match = true
	  while (str2[i]!='\0') { // while both strings have a character
		  if(str1[i] != str2[i]) {		// if check character doesn't match
			  	  strings_match = 0;	// strings match = false
		  }
		  i++;
	  }
	  if (str2[i]!='\0') { // if either string has a character
	        strings_match = 0;	// strings match = false
	  }
	  return strings_match;
}

/*
 * copy original string into copy
 * len is original strings length
 * WARNING copy must be adequate length
 * will stop early on null byte
 */
void my_strcpy(char* cpy, const char* orig, uint8_t len) {
	uint8_t i = 0;
	while(orig[i]!='\0' && i<=len) {
		cpy[i]=orig[i];
		i++;
	}
}

/*
 * checks the checkChar is one of the modes within run_mode
 * returns 1 for true, 0 for false
 */
uint8_t isValid(const char checkChar) {
    uint8_t valid = 0;
    switch(checkChar)
        case range:
        case speed:
        case idle:
        case test_high:
        case test_low:
            valid = 1;
    return valid;
}

/*
 * @ brief: function controls DAC output for the VCO
 * @param ctrl_ptr: pointer to control structure
 * @param cycle_DAC: 1 = turn off and back on the DAC for synchronization on restart during a run, 0 = cycling not required
 * four modes of operation,
 * 		i = idle mode, DAC sets VCO to 2.48 GHz
 * 		r = range mode, DAC set with VTune signal
 * 		s = speed mode, DAC sets VCO to 2.455 GHz
 * 		m = map, DAC set with VTune signal
 */
void set_DAC_for_VCO(control *ctrl_ptr, uint8_t cycle_DAC) {
	// if currently running is as instructed, return
	if (ctrl_ptr->mode_running == ctrl_ptr->mode_instructed && cycle_DAC == 0) {
		return;
	}

	// if currently running in other mode, turn it off,
	if (ctrl_ptr->mode_running == range) {
		HAL_DAC_Stop_DMA(&hdac1, DAC_CHANNEL_1);
		HAL_TIM_Base_Stop(&htim2);
	} else if (ctrl_ptr->mode_running == speed || ctrl_ptr->mode_running == idle || ctrl_ptr->mode_running == test_low || ctrl_ptr->mode_running == test_high) {
		HAL_DAC_Stop(&hdac1, DAC_CHANNEL_1);
	}

	  /* Set DAC_CH_1 to CTune VTune or IDLE based on user input for mode */
	if (ctrl_ptr->mode_instructed == range) {
		// turn on dac using dma and timer 2
		HAL_DAC_Start_DMA(&hdac1,DAC_CHANNEL_1,(uint32_t*)VTune,VTUNE_SAMPLE_LEN,DAC_ALIGN_12B_R);
		HAL_TIM_Base_Start(&htim2);
	} else if (ctrl_ptr->mode_instructed == speed) {
		HAL_DAC_Start(&hdac1, DAC_CHANNEL_1);
		HAL_DAC_SetValue(&hdac1, DAC_CHANNEL_1, DAC_ALIGN_12B_R, CTune);

	} else if (ctrl_ptr->mode_instructed == test_low) {
		HAL_DAC_Start(&hdac1, DAC_CHANNEL_1);
		HAL_DAC_SetValue(&hdac1, DAC_CHANNEL_1, DAC_ALIGN_12B_R, VTune_MIN);

	} else if (ctrl_ptr->mode_instructed == test_high) {
		HAL_DAC_Start(&hdac1, DAC_CHANNEL_1);
		HAL_DAC_SetValue(&hdac1, DAC_CHANNEL_1, DAC_ALIGN_12B_R, VTune_MAX);

	} else {
		HAL_DAC_Start(&hdac1, DAC_CHANNEL_1);
		HAL_DAC_SetValue(&hdac1, DAC_CHANNEL_1, DAC_ALIGN_12B_R, IDLE);
	}
	ctrl_ptr->mode_running = ctrl_ptr->mode_instructed;
}

/*
 * set the digital pot using i2c
 * function will set LED1 on fail
 * @param ctrl_ptr: pointer to control structure
 * @return: HAL status of i2c communication
 */
HAL_StatusTypeDef set_digital_pot(control* ctrl_ptr) {
	HAL_StatusTypeDef ret = HAL_I2C_Master_Transmit(&hi2c2, DIGITAL_POT_ADDR, &ctrl_ptr->digital_pot_instructed, 1, 1000);
	if (ret != HAL_OK) {
		HAL_GPIO_WritePin(LED1_GPIO_Port, LED1_Pin, SET);
		uint8_t software_reset = 0xFF;
		HAL_I2C_Master_Transmit(&hi2c2,software_reset , &software_reset, 1, 100);
		ret = HAL_I2C_Master_Transmit(&hi2c2, DIGITAL_POT_ADDR, &ctrl_ptr->digital_pot_instructed, 1, 1000);
		if (ret == HAL_OK) {
			HAL_GPIO_WritePin(LED1_GPIO_Port, LED1_Pin, RESET);
			ctrl_ptr->digital_pot_current_setting = ctrl_ptr->digital_pot_instructed;
		}
	} else {
		ctrl_ptr->digital_pot_current_setting = ctrl_ptr->digital_pot_instructed;
	}
	return ret;
}

void test_buffer() {
	uint32_t time = HAL_GetTick();
	uint16_t data[DMA_BUF_LEN/2];
	uint16_t count = 0;
	for (int i = 0; i < DMA_BUF_LEN/2; i++) {
		data[i] = i;
	}
	while(!input_received_flag) {
		HAL_Delay(100);
	}
	while (time<30000) {
		buf_push(tx_buf,data);
		while (transmit_buf(tx_buf) != 0) {

		}

		count++;
		for (int i = 0; i < DMA_BUF_LEN/2; i++) {
			data[i] = i+(64*count);
		}
	}
	buf_push(tx_buf,data);
	buf_push(tx_buf,data);
	buf_push(tx_buf,data);
	buf_push(tx_buf,data);
	buf_push(tx_buf,data);
	buf_push(tx_buf,data);
	buf_push(tx_buf,data);
	buf_push(tx_buf,data);
	buf_push(tx_buf,data);
	buf_push(tx_buf,data);
	buf_push(tx_buf,data); // should over fill and turn on led
}

/* USER CODE END 4 */

void Error_Handler(void)
{
  __disable_irq();
  while (1)
  {
  }
}
